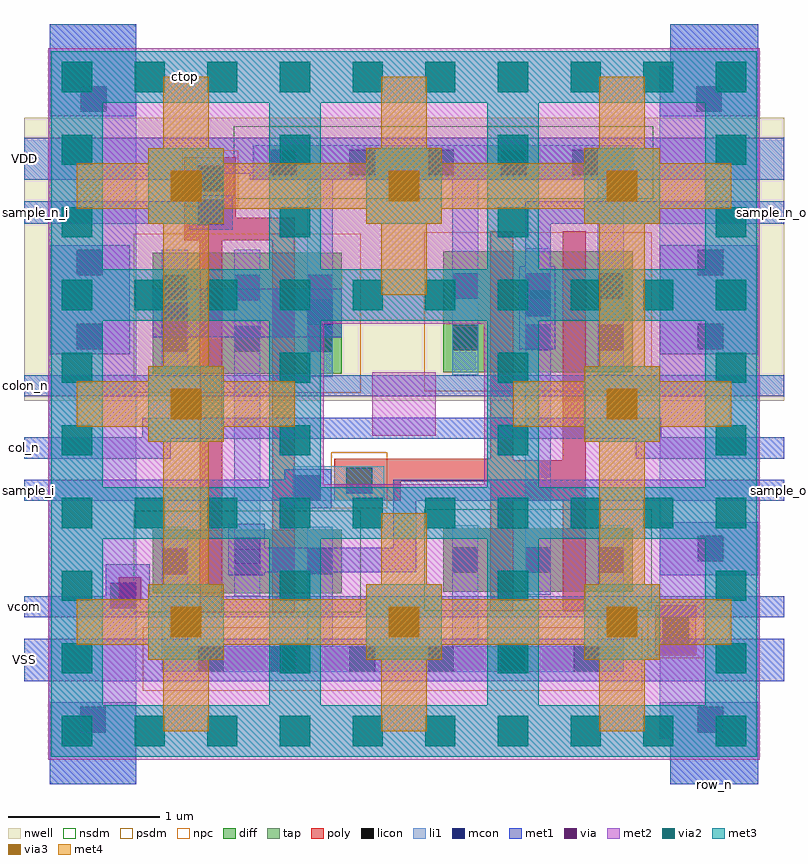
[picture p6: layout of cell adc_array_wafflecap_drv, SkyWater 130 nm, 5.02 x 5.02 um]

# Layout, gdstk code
import gdstk
lib = gdstk.Library(unit=1e-6, precision=1e-09)
def R(c, l, rs):  # rectangles x0, y0, x1, y1
    for r in rs: c.add(gdstk.rectangle(r[:2], r[2:], *l))
def A(c, l, x, y, w, h, nx, ny, dx, dy):  # array of equal rectangles
    R(c, l, [(x+i*dx, y+j*dy, x+i*dx+w, y+j*dy+h) for i in range(nx) for j in range(ny)])
nwell = (64, 20)
diff = (65, 20)
tap = (65, 44)
poly = (66, 20)
licon = (66, 44)
li1 = (67, 20)
mcon = (67, 44)
met1 = (68, 20)
via = (68, 44)
met2 = (69, 20)
via2 = (69, 44)
met3 = (70, 20)
via3 = (70, 44)
met4 = (71, 20)
nsdm = (93, 44)
psdm = (94, 20)
npc = (95, 20)

adc_array_wafflecap_drv = lib.new_cell('adc_array_wafflecap_drv')
R(adc_array_wafflecap_drv, nwell, [(0,2.53,5.02,4.4)])
R(adc_array_wafflecap_drv, diff, [(0.85,1.26,2.1,1.68), (2.77,1.27,4.02,1.69), (0.85,2.71,2.1,3.51), (2.77,2.72,4.02,3.52)])
R(adc_array_wafflecap_drv, tap, [(0.91,0.74,3.96,0.91), (1.51,3.99,4.03,4.22)])
R(adc_array_wafflecap_drv, poly, [(4.17,0.85,4.44,1.18), (1.16,1.13,1.31,3.59), (1.64,1.13,1.79,3.59), (3.08,1.14,3.23,1.87), (3.56,1.14,3.71,1.87), (2.05,1.87,2.49,2), (3.08,1.87,3.71,2), (2.05,2,3.71,2.14), (2.05,2.14,3.23,2.15), (3.56,2.14,3.71,3.65), (3.08,2.15,3.23,3.65), (1.06,3.59,1.79,3.74), (1.06,3.74,1.4,4.14)])
A(adc_array_wafflecap_drv, licon, 1.63, 0.74, 0.17, 0.17, 3, 2, 0.52, 3.28)
A(adc_array_wafflecap_drv, licon, 0.91, 1.385, 0.17, 0.17, 3, 2, 0.48, 1.47)
A(adc_array_wafflecap_drv, licon, 2.83, 1.395, 0.17, 0.17, 3, 2, 0.48, 1.47)
A(adc_array_wafflecap_drv, licon, 0.91, 3.195, 0.17, 0.17, 3, 1, 0.48, 0)
A(adc_array_wafflecap_drv, licon, 2.83, 3.205, 0.17, 0.17, 3, 1, 0.48, 0)
R(adc_array_wafflecap_drv, licon, [(1.15,0.74,1.32,0.91), (3.14,0.74,3.31,0.91), (3.63,0.74,3.8,0.91), (4.22,0.93,4.39,1.1), (2.13,1.92,2.3,2.09), (1.145,3.915,1.315,4.085), (3.15,4.02,3.32,4.19), (3.62,4.02,3.79,4.19)])
R(adc_array_wafflecap_drv, li1, [(0.17,0,0.74,5.02), (4.27,0,4.85,0.3), (4.2,0.3,4.85,4.74), (0.91,0.74,3.96,0.91), (0.91,0.91,1.08,1.7), (1.87,0.91,2.04,1.7), (2.83,0.91,3,1.71), (3.79,0.91,3.96,1.71), (1.39,1.24,1.56,3.53), (3.31,1.25,3.48,3.54), (1.78,1.87,2.38,2.1), (0.91,2.69,1.08,3.53), (1.87,2.69,2.04,3.99), (2.83,2.7,3,3.99), (3.79,2.7,3.96,3.99), (1.14,3.69,1.32,4.17), (1.51,3.99,4.03,4.22), (4.27,4.74,4.85,5.02)])
A(adc_array_wafflecap_drv, mcon, 1.63, 0.74, 0.17, 0.17, 3, 2, 0.52, 3.28)
R(adc_array_wafflecap_drv, mcon, [(0.37,0.34,0.54,0.51), (4.45,0.34,4.62,0.51), (1.15,0.74,1.32,0.91), (3.14,0.74,3.31,0.91), (3.63,0.74,3.8,0.91), (0.57,1.16,0.74,1.33), (1.39,1.455,1.56,1.625), (4.45,1.47,4.62,1.64), (1.79,1.87,1.96,2.04), (0.35,2.87,0.52,3.04), (4.45,2.87,4.62,3.04), (0.91,3.01,1.08,3.18), (1.87,3.03,2.04,3.2), (3.31,3.09,3.48,3.26), (0.35,3.36,0.52,3.53), (4.45,3.36,4.62,3.53), (1.15,3.69,1.32,3.86), (3.15,4.02,3.32,4.19), (3.62,4.02,3.79,4.19), (0.375,4.44,0.545,4.61), (4.44,4.44,4.61,4.61)])
R(adc_array_wafflecap_drv, met1, [(0.17,0,0.74,0.54), (4.27,0,4.85,0.3), (4.2,0.3,4.85,0.54), (0,0.68,5.02,0.96), (0,1.1,5.02,1.24), (0.54,1.24,0.83,1.45), (1.35,1.38,1.59,1.4), (4.2,1.38,4.85,1.73), (1.35,1.4,2.59,1.56), (1.35,1.56,1.59,1.72), (2.44,1.56,2.59,1.87), (1.72,1.82,2.03,1.87), (0,1.87,2.03,2.01), (2.44,1.87,5.02,2.01), (1.72,2.01,2.03,2.08), (0,2.15,0.97,2.28), (4.04,2.15,5.02,2.28), (0,2.28,5.02,2.29), (0.78,2.29,4.21,2.42), (0,2.56,5.02,2.7), (0.17,2.84,0.7,3.56), (4.2,2.84,4.85,3.56), (3.27,2.87,3.51,3.42), (0.85,2.95,2.1,3.27), (3.31,3.42,3.48,3.7), (1.09,3.66,1.38,3.7), (0,3.7,1.38,3.85), (3.31,3.7,5.02,3.85), (1.09,3.85,1.38,3.89), (0,3.99,0.98,4.03), (1.49,3.99,5.02,4.03), (0,4.03,5.02,4.27), (0.17,4.41,0.74,5.02), (4.2,4.41,4.85,4.74), (4.27,4.74,4.85,5.02)])
R(adc_array_wafflecap_drv, via, [(0.625,1.215,0.775,1.365)])
R(adc_array_wafflecap_drv, met2, [(0.16,0.16,4.86,1.98), (0.16,1.98,1.98,3.04), (3.04,1.98,4.86,3.04), (2.3,2.3,2.72,2.72), (0.16,3.04,4.86,4.86)])
A(adc_array_wafflecap_drv, via2, 0.25, 0.25, 0.2, 0.2, 10, 4, 0.48, 1.44)
A(adc_array_wafflecap_drv, via2, 0.25, 0.73, 0.2, 0.2, 4, 2, 1.44, 0.48)
A(adc_array_wafflecap_drv, via2, 0.25, 2.17, 0.2, 0.2, 4, 2, 1.44, 0.48)
A(adc_array_wafflecap_drv, via2, 0.25, 3.61, 0.2, 0.2, 4, 2, 1.44, 0.48)
A(adc_array_wafflecap_drv, met3, 0.18, 0.18, 4.66, 0.34, 1, 4, 0, 1.44)
A(adc_array_wafflecap_drv, met3, 0.18, 0.52, 0.34, 1.1, 4, 3, 1.44, 1.44)
A(adc_array_wafflecap_drv, met3, 0.82, 0.82, 0.5, 0.5, 3, 2, 1.44, 2.88)
R(adc_array_wafflecap_drv, met3, [(0.82,2.26,1.32,2.76), (3.7,2.26,4.2,2.76)])
A(adc_array_wafflecap_drv, via3, 0.97, 0.97, 0.2, 0.2, 3, 2, 1.44, 2.88)
R(adc_array_wafflecap_drv, via3, [(0.97,2.41,1.17,2.61), (3.85,2.41,4.05,2.61)])
A(adc_array_wafflecap_drv, met4, 0.92, 0.35, 0.3, 0.47, 3, 2, 1.44, 3.85)
A(adc_array_wafflecap_drv, met4, 0.82, 0.82, 0.5, 0.1, 3, 2, 1.44, 0.4)
A(adc_array_wafflecap_drv, met4, 0.82, 3.7, 0.5, 0.1, 3, 2, 1.44, 0.4)
R(adc_array_wafflecap_drv, met4, [(0.35,0.92,4.67,1.22), (0.92,1.32,1.22,2.26), (2.36,1.32,2.66,1.79), (3.8,1.32,4.1,2.26), (0.82,2.26,1.32,2.36), (3.7,2.26,4.2,2.36), (0.35,2.36,1.79,2.66), (3.23,2.36,4.67,2.66), (0.82,2.66,1.32,2.76), (3.7,2.66,4.2,2.76), (0.92,2.76,1.22,3.7), (3.8,2.76,4.1,3.7), (2.36,3.23,2.66,3.7), (0.35,3.8,4.67,4.1)])
R(adc_array_wafflecap_drv, nsdm, [(0.725,1.135,2.225,1.805), (2.645,1.145,4.145,1.815), (1.385,3.865,4.155,4.345)])
R(adc_array_wafflecap_drv, psdm, [(0.785,0.615,4.085,1.035), (0.725,2.585,2.225,3.635), (2.645,2.595,4.145,3.645)])
R(adc_array_wafflecap_drv, npc, [(4.12,0.83,4.49,1.2), (2.03,1.82,2.4,2.19), (1.045,3.815,1.415,4.185)])
adc_array_wafflecap_drv.add(gdstk.Label('ctop', (1.07,4.67), layer=71, texttype=16))
adc_array_wafflecap_drv.add(gdstk.Label('VDD', (0,4.13), layer=68, texttype=16))
adc_array_wafflecap_drv.add(gdstk.Label('colon_n', (0,2.63), layer=68, texttype=16))
adc_array_wafflecap_drv.add(gdstk.Label('col_n', (0,2.22), layer=68, texttype=16))
adc_array_wafflecap_drv.add(gdstk.Label('vcom', (0,1.17), layer=68, texttype=16))
adc_array_wafflecap_drv.add(gdstk.Label('VSS', (0,0.82), layer=68, texttype=16))
adc_array_wafflecap_drv.add(gdstk.Label('row_n', (4.56,0), layer=67, texttype=16))
adc_array_wafflecap_drv.add(gdstk.Label('sample_i', (0,1.94), layer=68, texttype=16))
adc_array_wafflecap_drv.add(gdstk.Label('sample_n_i', (0,3.775), layer=68, texttype=16))
adc_array_wafflecap_drv.add(gdstk.Label('sample_n_o', (5.02,3.775), layer=68, texttype=16))
adc_array_wafflecap_drv.add(gdstk.Label('sample_o', (5.02,1.94), layer=68, texttype=16))

lib.write_gds('adc_array_wafflecap_drv.gds')
